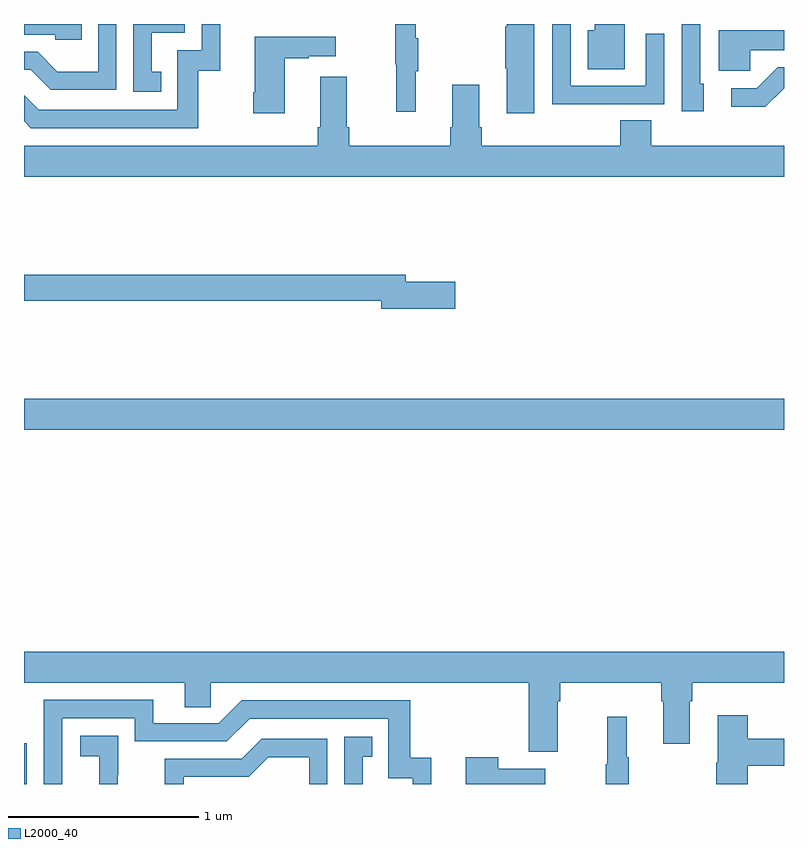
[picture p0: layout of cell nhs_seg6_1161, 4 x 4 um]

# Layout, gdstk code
import gdstk
lib = gdstk.Library(unit=1e-6, precision=1e-09)
def R(c, l, rs):  # rectangles x0, y0, x1, y1
    for r in rs: c.add(gdstk.rectangle(r[:2], r[2:], *l))
def P(c, l, *ps):  # polygons
    for p in ps: c.add(gdstk.Polygon(p, *l))
L2000_40 = (2000, 40)

nhs_seg6_1161 = lib.new_cell('nhs_seg6_1161')
R(nhs_seg6_1161, L2000_40, [(183,917.5,183.015,917.715), (183,919.364,187,919.528)])
P(nhs_seg6_1161, L2000_40, [(183.916,921.255),(184.034,921.255),(184.034,921.5),(183.936,921.5),(183.936,921.363),(183.807,921.363),(183.807,921.048),(183.078,921.048),(183,921.126),(183,920.988),(183.036,920.952),(183.916,920.952)],
  [(183.722,921.249),(183.673,921.249),(183.673,921.453),(183.846,921.453),(183.846,921.5),(183.576,921.5),(183.576,921.144),(183.722,921.144)],
  [(186.053,921.078),(186.369,921.078),(186.369,921.448),(186.273,921.448),(186.273,921.174),(185.877,921.174),(185.877,921.5),(185.781,921.5),(185.781,921.077),(186.053,921.077)],
  [(183.305,921.5),(183,921.5),(183,921.444),(183.165,921.444),(183.165,921.417),(183.305,921.417)],
  [(183.486,921.5),(183.39,921.5),(183.39,921.25),(183.176,921.25),(183.072,921.354),(183,921.354),(183,921.258),(183.035,921.258),(183.14,921.153),(183.486,921.153)],
  [(186.163,921.5),(186.005,921.5),(186.005,921.466),(185.966,921.466),(185.966,921.263),(186.163,921.263)],
  [(185.686,921.5),(185.54,921.5),(185.54,921.485),(185.533,921.485),(185.533,921.268),(185.54,921.268),(185.54,921.03),(185.686,921.03)],
  [(185.063,921.251),(185.074,921.251),(185.074,921.425),(185.063,921.425),(185.063,921.5),(184.953,921.5),(184.953,921.288),(184.96,921.288),(184.96,921.039),(185.063,921.039)],
  [(186.577,921.186),(186.558,921.186),(186.558,921.5),(186.462,921.5),(186.462,921.042),(186.577,921.042)],
  [(186.822,921.362),(187,921.362),(187,921.466),(186.656,921.466),(186.656,921.254),(186.822,921.254)],
  [(184.372,921.319),(184.499,921.319),(184.499,921.329),(184.642,921.329),(184.642,921.433),(184.214,921.433),(184.214,921.142),(184.207,921.142),(184.207,921.03),(184.372,921.03)],
  [(187,921.163),(187,921.273),(186.968,921.273),(186.857,921.162),(186.723,921.162),(186.723,921.065),(186.901,921.065)],
  [(187,920.86),(186.302,920.86),(186.302,920.993),(186.137,920.993),(186.137,920.86),(185.408,920.86),(185.408,920.956),(185.395,920.956),(185.395,921.181),(185.255,921.181),(185.255,920.956),(185.243,920.956),(185.243,920.86),(184.712,920.86),(184.712,920.956),(184.699,920.956),(184.699,921.223),(184.559,921.223),(184.559,920.956),(184.547,920.956),(184.547,920.86),(183,920.86),(183,920.696),(187,920.696)],
  [(185.269,920.144),(185.008,920.144),(185.008,920.18),(183,920.18),(183,920.044),(184.88,920.044),(184.88,920.002),(185.269,920.002)],
  [(185.809,917.936),(185.822,917.936),(185.822,918.032),(186.353,918.032),(186.353,917.936),(186.365,917.936),(186.365,917.712),(186.505,917.712),(186.505,917.936),(186.518,917.936),(186.518,918.032),(187,918.032),(187,918.196),(183,918.196),(183,918.032),(183.845,918.032),(183.845,917.905),(183.984,917.905),(183.984,918.032),(185.657,918.032),(185.657,917.67),(185.809,917.67)],
  [(183.201,917.847),(183.582,917.847),(183.582,917.724),(184.068,917.724),(184.188,917.844),(184.917,917.844),(184.917,917.529),(185.046,917.529),(185.046,917.5),(185.144,917.5),(185.144,917.638),(185.033,917.638),(185.033,917.94),(184.146,917.94),(184.026,917.82),(183.679,917.82),(183.679,917.943),(183.105,917.943),(183.105,917.5),(183.201,917.5)],
  [(186.809,917.597),(187,917.597),(187,917.739),(186.809,917.739),(186.809,917.863),(186.65,917.863),(186.65,917.613),(186.643,917.613),(186.643,917.5),(186.809,917.5)],
  [(186.184,917.641),(186.173,917.641),(186.173,917.854),(186.07,917.854),(186.07,917.604),(186.063,917.604),(186.063,917.5),(186.184,917.5)],
  [(183.494,917.549),(183.495,917.549),(183.495,917.755),(183.297,917.755),(183.297,917.645),(183.395,917.645),(183.395,917.5),(183.494,917.5)],
  [(184.783,917.643),(184.832,917.643),(184.832,917.749),(184.686,917.749),(184.686,917.5),(184.783,917.5)],
  [(183.84,917.538),(184.182,917.538),(184.286,917.642),(184.5,917.642),(184.5,917.5),(184.596,917.5),(184.596,917.739),(184.25,917.739),(184.145,917.634),(183.742,917.634),(183.742,917.5),(183.84,917.5)],
  [(185.743,917.581),(185.495,917.581),(185.495,917.641),(185.324,917.641),(185.324,917.5),(185.743,917.5)])

lib.write_gds('nhs_seg6_1161.gds')
